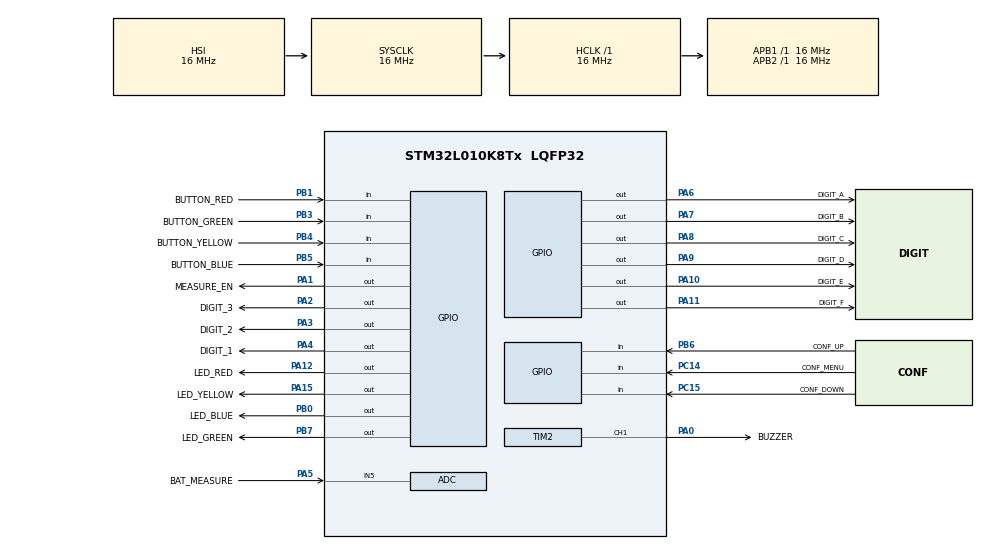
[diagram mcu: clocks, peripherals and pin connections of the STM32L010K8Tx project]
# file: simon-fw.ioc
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ADC.Resolution=ADC_RESOLUTION_12B
ADC.SamplingTime=ADC_SAMPLETIME_12CYCLES_5
Mcu.Family=STM32L0
Mcu.Name=STM32L010K8Tx
Mcu.Package=LQFP32
PA0.GPIO_Label=BUZZER
PA0.Signal=S_TIM2_CH1
PA1.GPIO_Label=MEASURE_EN
PA1.Signal=GPIO_Output
PA10.GPIO_Label=DIGIT_E
PA10.Signal=GPIO_Output
PA11.GPIO_Label=DIGIT_F
PA11.Signal=GPIO_Output
PA12.GPIO_Label=LED_RED
PA12.Signal=GPIO_Output
PA13.Mode=Serial_Wire
PA13.Signal=SYS_SWDIO
PA14.Mode=Serial_Wire
PA14.Signal=SYS_SWCLK
PA15.GPIO_Label=LED_YELLOW
PA15.Signal=GPIO_Output
PA2.GPIO_Label=DIGIT_3
PA2.Signal=GPIO_Output
PA3.GPIO_Label=DIGIT_2
PA3.Signal=GPIO_Output
PA4.GPIO_Label=DIGIT_1
PA4.Signal=GPIO_Output
PA5.GPIO_Label=BAT_MEASURE
PA5.Mode=IN5
PA5.Signal=ADC_IN5
PA6.GPIO_Label=DIGIT_A
PA6.Signal=GPIO_Output
PA7.GPIO_Label=DIGIT_B
PA7.Signal=GPIO_Output
PA8.GPIO_Label=DIGIT_C
PA8.Signal=GPIO_Output
PA9.GPIO_Label=DIGIT_D
PA9.Signal=GPIO_Output
PB0.GPIO_Label=LED_BLUE
PB0.Signal=GPIO_Output
PB1.GPIO_Label=BUTTON_RED
PB1.Signal=GPIO_Input
PB3.GPIO_Label=BUTTON_GREEN
PB3.Signal=GPIO_Input
PB4.GPIO_Label=BUTTON_YELLOW
PB4.Signal=GPIO_Input
PB5.GPIO_Label=BUTTON_BLUE
PB5.Signal=GPIO_Input
PB6.GPIO_Label=CONF_UP
PB6.Signal=GPIO_Input
PB7.GPIO_Label=LED_GREEN
PB7.Signal=GPIO_Output
PC14-OSC32_IN.GPIO_Label=CONF_MENU
PC14-OSC32_IN.Signal=GPIO_Input
PC15-OSC32_OUT.GPIO_Label=CONF_DOWN
PC15-OSC32_OUT.Signal=GPIO_Input
ProjectManager.HeapSize=0x200
ProjectManager.StackSize=0x400
ProjectManager.TargetToolchain=STM32CubeIDE
RCC.AHBFreq_Value=16000000
RCC.APB1Freq_Value=16000000
RCC.APB1TimFreq_Value=16000000
RCC.APB2Freq_Value=16000000
RCC.APB2TimFreq_Value=16000000
RCC.HCLKFreq_Value=16000000
RCC.HSI16_VALUE=16000000
RCC.HSI_VALUE=16000000
RCC.LSE_VALUE=32768
RCC.MSI_VALUE=2097000
RCC.SYSCLKFreq_VALUE=16000000
RCC.SYSCLKSource=RCC_SYSCLKSOURCE_HSI
RCC.VCOOutputFreq_Value=48000000
SH.S_TIM2_CH1.0=TIM2_CH1,PWM Generation1 CH1
TIM2.Channel-PWM\ Generation1\ CH1=TIM_CHANNEL_1
TIM2.Period=2
TIM2.Prescaler=3999
TIM2.Pulse-PWM\ Generation1\ CH1=1
board=custom

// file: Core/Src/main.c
/* USER CODE BEGIN Header */
/**
  ******************************************************************************
  * @file           : main.c
  * @brief          : Main program body
  ******************************************************************************
  * @attention
  *
  * <h2><center>&copy; Copyright (c) 2020 STMicroelectronics.
  * All rights reserved.</center></h2>
  *
  * This software component is licensed by ST under BSD 3-Clause license,
  * the "License"; You may not use this file except in compliance with the
  * License. You may obtain a copy of the License at:
  *                        opensource.org/licenses/BSD-3-Clause
  *
  ******************************************************************************
  */
/* USER CODE END Header */
#include "main.h"
/* USER CODE BEGIN Includes */
#ifdef SIMON_TEST_HW
#include "test.h"
#endif
#include "led.h"
#include "engine.h"
/* USER CODE END Includes */

ADC_HandleTypeDef hadc;

TIM_HandleTypeDef htim2;

void SystemClock_Config(void);
static void MX_GPIO_Init(void);
static void MX_ADC_Init(void);
static void MX_TIM2_Init(void);
/* USER CODE BEGIN PFP */
#ifndef DEBUG
static void GPIO_ReleaseMode_Init(void);
#endif
/* USER CODE END PFP */

int main(void)
{

  /* MCU Configuration--------------------------------------------------------*/

  /* Reset of all peripherals, Initializes the Flash interface and the Systick. */
  HAL_Init();

  /* Configure the system clock */
  SystemClock_Config();

  /* Initialize all configured peripherals */
  MX_GPIO_Init();
  MX_ADC_Init();
  MX_TIM2_Init();
  /* USER CODE BEGIN 2 */
#ifndef DEBUG
  /* Initialize only on release mode */
  GPIO_ReleaseMode_Init();
#endif

#ifdef SIMON_TEST_HW
  test_initTestHW();
  test_computeTestHW();
#endif

  engine_init();
  /* USER CODE END 2 */

  /* Infinite loop */
  while (1)
  {
	  engine_compute();
  }
}

void SystemClock_Config(void)
{
  RCC_OscInitTypeDef RCC_OscInitStruct = {0};
  RCC_ClkInitTypeDef RCC_ClkInitStruct = {0};

  /** Configure the main internal regulator output voltage
  */
  __HAL_PWR_VOLTAGESCALING_CONFIG(PWR_REGULATOR_VOLTAGE_SCALE1);
  /** Initializes the RCC Oscillators according to the specified parameters
  * in the RCC_OscInitTypeDef structure.
  */
  RCC_OscInitStruct.OscillatorType = RCC_OSCILLATORTYPE_HSI;
  RCC_OscInitStruct.HSIState = RCC_HSI_ON;
  RCC_OscInitStruct.HSICalibrationValue = RCC_HSICALIBRATION_DEFAULT;
  RCC_OscInitStruct.PLL.PLLState = RCC_PLL_NONE;
  if (HAL_RCC_OscConfig(&RCC_OscInitStruct) != HAL_OK)
  {
    Error_Handler();
  }
  /** Initializes the CPU, AHB and APB buses clocks
  */
  RCC_ClkInitStruct.ClockType = RCC_CLOCKTYPE_HCLK|RCC_CLOCKTYPE_SYSCLK
                              |RCC_CLOCKTYPE_PCLK1|RCC_CLOCKTYPE_PCLK2;
  RCC_ClkInitStruct.SYSCLKSource = RCC_SYSCLKSOURCE_HSI;
  RCC_ClkInitStruct.AHBCLKDivider = RCC_SYSCLK_DIV1;
  RCC_ClkInitStruct.APB1CLKDivider = RCC_HCLK_DIV1;
  RCC_ClkInitStruct.APB2CLKDivider = RCC_HCLK_DIV1;

  if (HAL_RCC_ClockConfig(&RCC_ClkInitStruct, FLASH_LATENCY_0) != HAL_OK)
  {
    Error_Handler();
  }
}

static void MX_ADC_Init(void)
{

  ADC_ChannelConfTypeDef sConfig = {0};

  /** Configure the global features of the ADC (Clock, Resolution, Data Alignment and number of conversion)
  */
  hadc.Instance = ADC1;
  hadc.Init.OversamplingMode = DISABLE;
  hadc.Init.ClockPrescaler = ADC_CLOCK_SYNC_PCLK_DIV1;
  hadc.Init.Resolution = ADC_RESOLUTION_12B;
  hadc.Init.SamplingTime = ADC_SAMPLETIME_12CYCLES_5;
  hadc.Init.ScanConvMode = ADC_SCAN_DIRECTION_FORWARD;
  hadc.Init.DataAlign = ADC_DATAALIGN_RIGHT;
  hadc.Init.ContinuousConvMode = DISABLE;
  hadc.Init.DiscontinuousConvMode = DISABLE;
  hadc.Init.ExternalTrigConvEdge = ADC_EXTERNALTRIGCONVEDGE_NONE;
  hadc.Init.ExternalTrigConv = ADC_SOFTWARE_START;
  hadc.Init.DMAContinuousRequests = DISABLE;
  hadc.Init.EOCSelection = ADC_EOC_SINGLE_CONV;
  hadc.Init.Overrun = ADC_OVR_DATA_PRESERVED;
  hadc.Init.LowPowerAutoWait = DISABLE;
  hadc.Init.LowPowerFrequencyMode = DISABLE;
  hadc.Init.LowPowerAutoPowerOff = DISABLE;
  if (HAL_ADC_Init(&hadc) != HAL_OK)
  {
    Error_Handler();
  }
  /** Configure for the selected ADC regular channel to be converted.
  */
  sConfig.Channel = ADC_CHANNEL_5;
  sConfig.Rank = ADC_RANK_CHANNEL_NUMBER;
  if (HAL_ADC_ConfigChannel(&hadc, &sConfig) != HAL_OK)
  {
    Error_Handler();
  }

}

static void MX_TIM2_Init(void)
{

  TIM_MasterConfigTypeDef sMasterConfig = {0};
  TIM_OC_InitTypeDef sConfigOC = {0};

  htim2.Instance = TIM2;
  htim2.Init.Prescaler = 3999;
  htim2.Init.CounterMode = TIM_COUNTERMODE_UP;
  htim2.Init.Period = 2;
  htim2.Init.ClockDivision = TIM_CLOCKDIVISION_DIV1;
  htim2.Init.AutoReloadPreload = TIM_AUTORELOAD_PRELOAD_DISABLE;
  if (HAL_TIM_PWM_Init(&htim2) != HAL_OK)
  {
    Error_Handler();
  }
  sMasterConfig.MasterOutputTrigger = TIM_TRGO_RESET;
  sMasterConfig.MasterSlaveMode = TIM_MASTERSLAVEMODE_DISABLE;
  if (HAL_TIMEx_MasterConfigSynchronization(&htim2, &sMasterConfig) != HAL_OK)
  {
    Error_Handler();
  }
  sConfigOC.OCMode = TIM_OCMODE_PWM1;
  sConfigOC.Pulse = 1;
  sConfigOC.OCPolarity = TIM_OCPOLARITY_HIGH;
  sConfigOC.OCFastMode = TIM_OCFAST_DISABLE;
  if (HAL_TIM_PWM_ConfigChannel(&htim2, &sConfigOC, TIM_CHANNEL_1) != HAL_OK)
  {
    Error_Handler();
  }
  HAL_TIM_MspPostInit(&htim2);

}

static void MX_GPIO_Init(void)
{
  GPIO_InitTypeDef GPIO_InitStruct = {0};

  /* GPIO Ports Clock Enable */
  __HAL_RCC_GPIOC_CLK_ENABLE();
  __HAL_RCC_GPIOA_CLK_ENABLE();
  __HAL_RCC_GPIOB_CLK_ENABLE();

  /*Configure GPIO pin Output Level */
  HAL_GPIO_WritePin(GPIOA, MEASURE_EN_Pin|DIGIT_3_Pin|DIGIT_2_Pin|DIGIT_1_Pin
                          |DIGIT_A_Pin|DIGIT_B_Pin|DIGIT_C_Pin|DIGIT_D_Pin
                          |DIGIT_E_Pin|DIGIT_F_Pin|LED_RED_Pin|LED_YELLOW_Pin, GPIO_PIN_RESET);

  /*Configure GPIO pin Output Level */
  HAL_GPIO_WritePin(GPIOB, LED_BLUE_Pin|LED_GREEN_Pin, GPIO_PIN_RESET);

  /*Configure GPIO pins : CONF_MENU_Pin CONF_DOWN_Pin */
  GPIO_InitStruct.Pin = CONF_MENU_Pin|CONF_DOWN_Pin;
  GPIO_InitStruct.Mode = GPIO_MODE_INPUT;
  GPIO_InitStruct.Pull = GPIO_NOPULL;
  HAL_GPIO_Init(GPIOC, &GPIO_InitStruct);

  /*Configure GPIO pins : MEASURE_EN_Pin DIGIT_3_Pin DIGIT_2_Pin DIGIT_1_Pin
                           DIGIT_A_Pin DIGIT_B_Pin DIGIT_C_Pin DIGIT_D_Pin
                           DIGIT_E_Pin DIGIT_F_Pin LED_RED_Pin LED_YELLOW_Pin */
  GPIO_InitStruct.Pin = MEASURE_EN_Pin|DIGIT_3_Pin|DIGIT_2_Pin|DIGIT_1_Pin
                          |DIGIT_A_Pin|DIGIT_B_Pin|DIGIT_C_Pin|DIGIT_D_Pin
                          |DIGIT_E_Pin|DIGIT_F_Pin|LED_RED_Pin|LED_YELLOW_Pin;
  GPIO_InitStruct.Mode = GPIO_MODE_OUTPUT_PP;
  GPIO_InitStruct.Pull = GPIO_NOPULL;
  GPIO_InitStruct.Speed = GPIO_SPEED_FREQ_LOW;
  HAL_GPIO_Init(GPIOA, &GPIO_InitStruct);

  /*Configure GPIO pins : LED_BLUE_Pin LED_GREEN_Pin */
  GPIO_InitStruct.Pin = LED_BLUE_Pin|LED_GREEN_Pin;
  GPIO_InitStruct.Mode = GPIO_MODE_OUTPUT_PP;
  GPIO_InitStruct.Pull = GPIO_NOPULL;
  GPIO_InitStruct.Speed = GPIO_SPEED_FREQ_LOW;
  HAL_GPIO_Init(GPIOB, &GPIO_InitStruct);

  /*Configure GPIO pins : BUTTON_RED_Pin BUTTON_GREEN_Pin BUTTON_YELLOW_Pin BUTTON_BLUE_Pin
                           CONF_UP_Pin */
  GPIO_InitStruct.Pin = BUTTON_RED_Pin|BUTTON_GREEN_Pin|BUTTON_YELLOW_Pin|BUTTON_BLUE_Pin
                          |CONF_UP_Pin;
  GPIO_InitStruct.Mode = GPIO_MODE_INPUT;
  GPIO_InitStruct.Pull = GPIO_NOPULL;
  HAL_GPIO_Init(GPIOB, &GPIO_InitStruct);

}

/* USER CODE BEGIN 4 */
#ifndef DEBUG
/**
 * @brief Configure some gpios used on Release mode to avoid a conflict in debug mode
 * 		  DIGIT_G is the same pin that SWDIO
 */
static void GPIO_ReleaseMode_Init(void) {
	GPIO_InitTypeDef GPIO_InitStruct = {0};

	/* Set GPIO G pin as output and reset as default */
	HAL_GPIO_WritePin(DIGIT_G_GPIO_Port, DIGIT_G_Pin, GPIO_PIN_RESET);

	GPIO_InitStruct.Pin = DIGIT_G_Pin;

	GPIO_InitStruct.Mode = GPIO_MODE_OUTPUT_PP;
	GPIO_InitStruct.Pull = GPIO_NOPULL;
	GPIO_InitStruct.Speed = GPIO_SPEED_FREQ_MEDIUM;

	HAL_GPIO_Init(DIGIT_G_GPIO_Port, &GPIO_InitStruct);
}
#endif
/* USER CODE END 4 */

void Error_Handler(void)
{
  /* USER CODE BEGIN Error_Handler_Debug */
  /* User can add his own implementation to report the HAL error return state */
	while(1) {
		led_setEnable(LED_RED, GPIO_PIN_SET);
	}
  /* USER CODE END Error_Handler_Debug */
}

/************************ (C) COPYRIGHT STMicroelectronics *****END OF FILE****/
